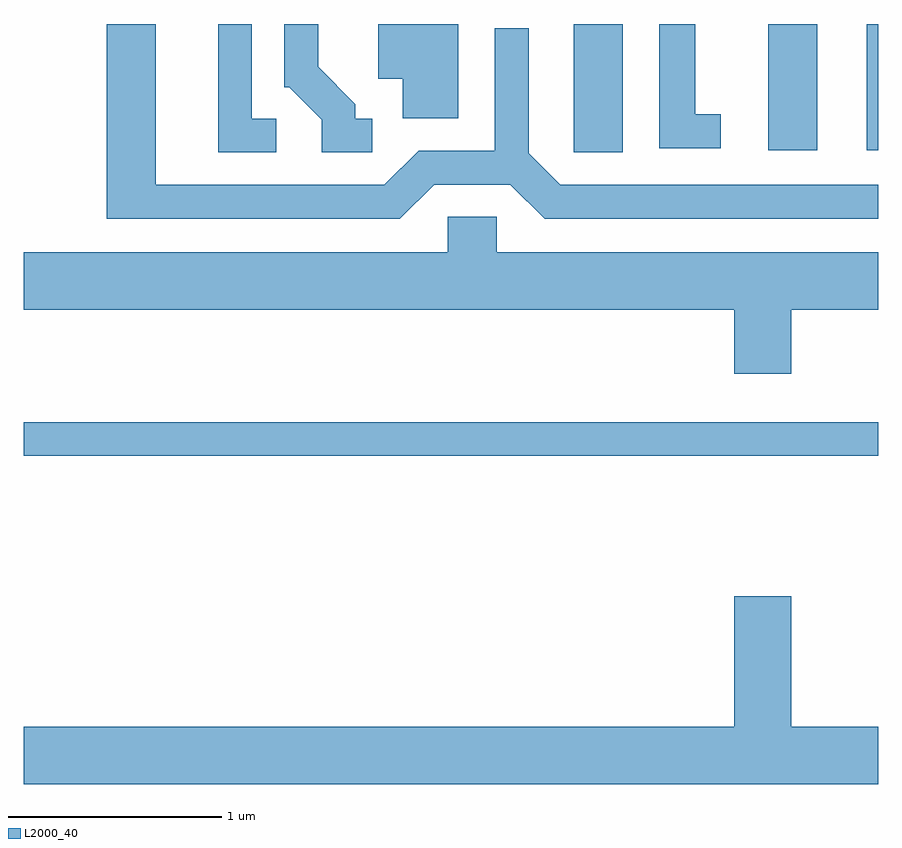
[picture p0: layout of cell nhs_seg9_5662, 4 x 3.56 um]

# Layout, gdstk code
import gdstk
lib = gdstk.Library(unit=1e-6, precision=1e-09)
def R(c, l, rs):  # rectangles x0, y0, x1, y1
    for r in rs: c.add(gdstk.rectangle(r[:2], r[2:], *l))
def P(c, l, *ps):  # polygons
    for p in ps: c.add(gdstk.Polygon(p, *l))
L2000_40 = (2000, 40)

nhs_seg9_5662 = lib.new_cell('nhs_seg9_5662')
R(nhs_seg9_5662, L2000_40, [(351.611,2044.411,355.611,2044.569), (354.186,2045.831,354.414,2046.432), (355.096,2045.841,355.324,2046.432), (355.556,2045.841,355.611,2046.432)])
P(nhs_seg9_5662, L2000_40, [(353.532,2045.681),(353.889,2045.681),(354.049,2045.521),(355.611,2045.521),(355.611,2045.679),(354.122,2045.679),(353.974,2045.827),(353.974,2046.413),(353.816,2046.413),(353.816,2045.839),(353.459,2045.839),(353.299,2045.679),(352.229,2045.679),(352.229,2046.432),(352.001,2046.432),(352.001,2045.521),(353.372,2045.521)],
  [(353.243,2045.989),(353.164,2045.989),(353.164,2046.057),(352.989,2046.232),(352.989,2046.432),(352.831,2046.432),(352.831,2046.136),(352.854,2046.136),(353.006,2045.984),(353.006,2045.831),(353.243,2045.831)],
  [(354.873,2046.009),(354.754,2046.009),(354.754,2046.432),(354.586,2046.432),(354.586,2045.851),(354.873,2045.851)],
  [(352.793,2045.989),(352.679,2045.989),(352.679,2046.432),(352.521,2046.432),(352.521,2045.831),(352.793,2045.831)],
  [(353.644,2046.432),(353.271,2046.432),(353.271,2046.176),(353.386,2046.176),(353.386,2045.991),(353.644,2045.991)],
  [(355.204,2045.096),(355.611,2045.096),(355.611,2045.364),(353.824,2045.364),(353.824,2045.529),(353.596,2045.529),(353.596,2045.364),(351.611,2045.364),(351.611,2045.096),(354.936,2045.096),(354.936,2044.796),(355.204,2044.796)],
  [(355.611,2043.144),(355.204,2043.144),(355.204,2043.754),(354.936,2043.754),(354.936,2043.144),(351.611,2043.144),(351.611,2042.876),(355.611,2042.876)])

lib.write_gds('nhs_seg9_5662.gds')
